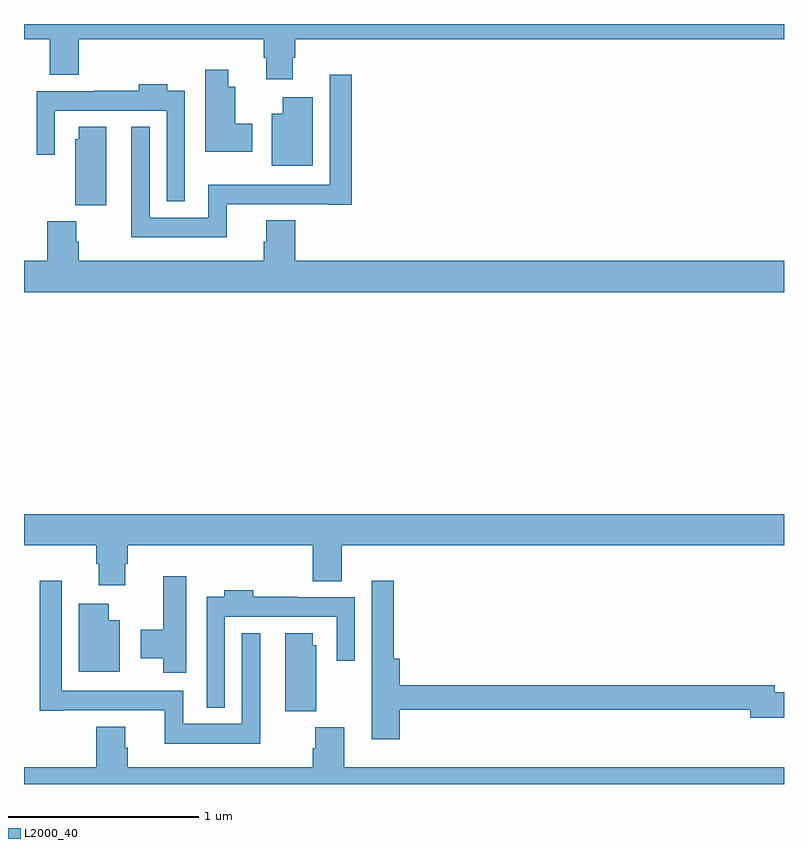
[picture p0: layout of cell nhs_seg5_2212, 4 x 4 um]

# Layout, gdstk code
import gdstk
lib = gdstk.Library(unit=1e-6, precision=1e-09)
def P(c, l, *ps):  # polygons
    for p in ps: c.add(gdstk.Polygon(p, *l))
L2000_40 = (2000, 40)

nhs_seg5_2212 = lib.new_cell('nhs_seg5_2212')
P(nhs_seg5_2212, L2000_40, [(243,896.799),(239,896.799),(239,896.72),(239.135,896.72),(239.135,896.531),(239.288,896.531),(239.288,896.72),(240.263,896.72),(240.263,896.622),(240.275,896.622),(240.275,896.508),(240.415,896.508),(240.415,896.622),(240.428,896.622),(240.428,896.72),(243,896.72)],
  [(240.202,896.274),(240.112,896.274),(240.112,896.47),(240.076,896.47),(240.076,896.557),(239.954,896.557),(239.954,896.126),(240.202,896.126)],
  [(240.068,895.85),(240.602,895.85),(240.602,895.848),(240.725,895.848),(240.725,896.533),(240.609,896.533),(240.609,895.954),(239.97,895.954),(239.97,895.78),(239.661,895.78),(239.661,896.257),(239.564,896.257),(239.564,895.676),(240.068,895.676)],
  [(239.847,896.449),(239.755,896.449),(239.755,896.482),(239.603,896.482),(239.603,896.449),(239.371,896.449),(239.371,896.446),(239.067,896.446),(239.067,896.112),(239.163,896.112),(239.163,896.342),(239.751,896.342),(239.751,895.865),(239.847,895.865)],
  [(240.52,896.413),(240.362,896.413),(240.362,896.326),(240.305,896.326),(240.305,896.054),(240.52,896.054)],
  [(239.434,896.257),(239.288,896.257),(239.288,896.193),(239.27,896.193),(239.27,895.846),(239.434,895.846)],
  [(243,895.552),(240.428,895.552),(240.428,895.765),(240.275,895.765),(240.275,895.653),(240.263,895.653),(240.263,895.552),(239.288,895.552),(239.288,895.652),(239.275,895.652),(239.275,895.761),(239.123,895.761),(239.123,895.552),(239,895.552),(239,895.388),(243,895.388)],
  [(239.533,893.958),(239.546,893.958),(239.546,894.056),(240.521,894.056),(240.521,893.867),(240.673,893.867),(240.673,894.056),(243,894.056),(243,894.22),(239,894.22),(239,894.056),(239.381,894.056),(239.381,893.958),(239.393,893.958),(239.393,893.844),(239.533,893.844)],
  [(239.854,893.893),(239.732,893.893),(239.732,893.61),(239.615,893.61),(239.615,893.462),(239.732,893.462),(239.732,893.385),(239.854,893.385)],
  [(240.977,893.19),(242.822,893.19),(242.822,893.147),(243,893.147),(243,893.282),(242.95,893.282),(242.95,893.318),(240.977,893.318),(240.977,893.458),(240.947,893.458),(240.947,893.869),(240.831,893.869),(240.831,893.295),(240.83,893.295),(240.83,893.034),(240.977,893.034)],
  [(240.244,893.593),(240.147,893.593),(240.147,893.116),(239.838,893.116),(239.838,893.29),(239.199,893.29),(239.199,893.869),(239.083,893.869),(239.083,893.184),(239.206,893.184),(239.206,893.186),(239.741,893.186),(239.741,893.012),(240.244,893.012)],
  [(240.057,893.678),(240.645,893.678),(240.645,893.448),(240.741,893.448),(240.741,893.782),(240.437,893.782),(240.437,893.785),(240.206,893.785),(240.206,893.818),(240.053,893.818),(240.053,893.785),(239.961,893.785),(239.961,893.201),(240.057,893.201)],
  [(239.503,893.662),(239.446,893.662),(239.446,893.749),(239.288,893.749),(239.288,893.39),(239.503,893.39)],
  [(240.538,893.529),(240.52,893.529),(240.52,893.593),(240.374,893.593),(240.374,893.182),(240.538,893.182)],
  [(243,892.888),(240.686,892.888),(240.686,893.097),(240.533,893.097),(240.533,892.988),(240.521,892.988),(240.521,892.888),(239.546,892.888),(239.546,892.989),(239.533,892.989),(239.533,893.101),(239.381,893.101),(239.381,892.888),(239,892.888),(239,892.799),(243,892.799)])

lib.write_gds('nhs_seg5_2212.gds')
